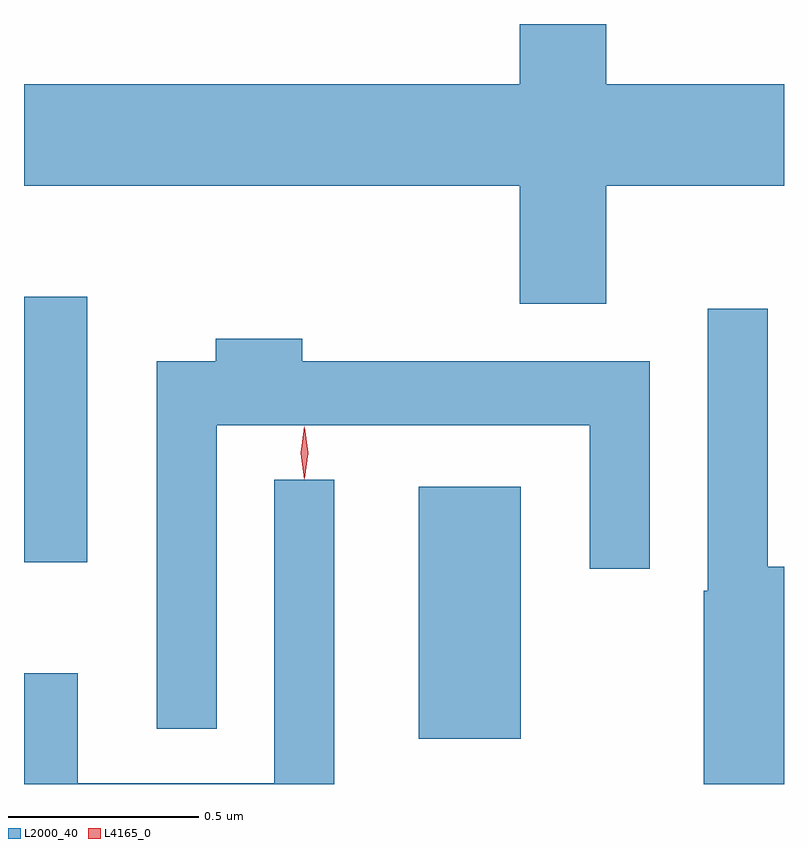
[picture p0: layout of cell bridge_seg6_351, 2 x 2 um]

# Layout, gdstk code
import gdstk
lib = gdstk.Library(unit=1e-6, precision=1e-09)
def R(c, l, rs):  # rectangles x0, y0, x1, y1
    for r in rs: c.add(gdstk.rectangle(r[:2], r[2:], *l))
def P(c, l, *ps):  # polygons
    for p in ps: c.add(gdstk.Polygon(p, *l))
L2000_40 = (2000, 40)
L4165_0 = (4165, 0)

bridge_seg6_351 = lib.new_cell('bridge_seg6_351')
R(bridge_seg6_351, L2000_40, [(1291.216,1550.801,1291.484,1551.464), (1290.177,1551.266,1290.344,1551.964)])
P(bridge_seg6_351, L2000_40, [(1291.709,1552.256),(1292.177,1552.256),(1292.177,1552.524),(1291.709,1552.524),(1291.709,1552.682),(1291.481,1552.682),(1291.481,1552.524),(1290.177,1552.524),(1290.177,1552.256),(1291.481,1552.256),(1291.481,1551.946),(1291.709,1551.946)],
  [(1292.177,1551.254),(1292.134,1551.254),(1292.134,1551.933),(1291.976,1551.933),(1291.976,1551.19),(1291.966,1551.19),(1291.966,1550.682),(1292.177,1550.682)],
  [(1290.684,1551.626),(1291.666,1551.626),(1291.666,1551.248),(1291.824,1551.248),(1291.824,1551.794),(1290.909,1551.794),(1290.909,1551.854),(1290.681,1551.854),(1290.681,1551.794),(1290.526,1551.794),(1290.526,1550.828),(1290.684,1550.828)],
  [(1290.994,1551.483),(1290.836,1551.483),(1290.836,1550.684),(1290.319,1550.684),(1290.319,1550.974),(1290.177,1550.974),(1290.177,1550.682),(1290.994,1550.682)])
P(bridge_seg6_351, L4165_0, [(1290.914,1551.484),(1290.905,1551.553),(1290.914,1551.622),(1290.915,1551.623),(1290.915,1551.622),(1290.925,1551.553),(1290.915,1551.484),(1290.915,1551.484)],
  [(1290.914,1551.487),(1290.905,1551.554),(1290.914,1551.62),(1290.915,1551.621),(1290.916,1551.62),(1290.925,1551.554),(1290.916,1551.487),(1290.915,1551.487)])

lib.write_gds('bridge_seg6_351.gds')
